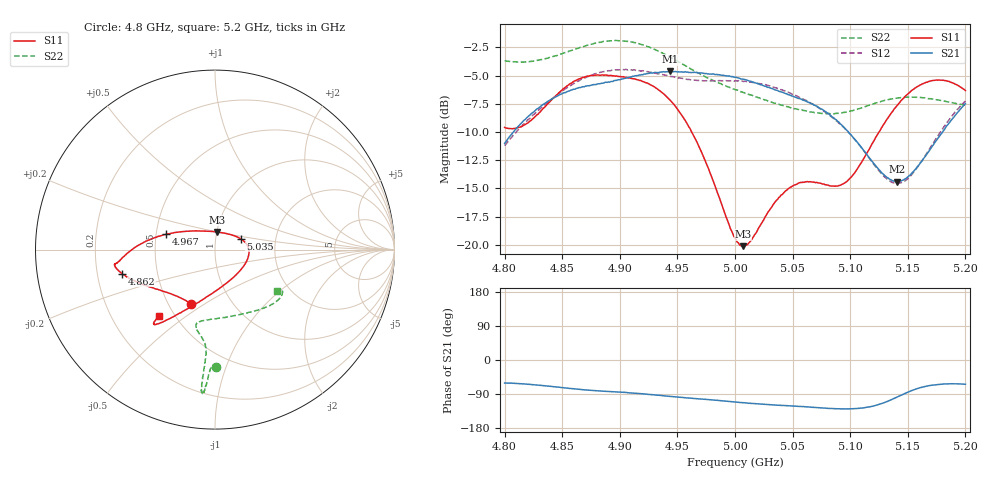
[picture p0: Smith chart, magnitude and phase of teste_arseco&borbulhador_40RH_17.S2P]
! Network Analyzer HP8722D
! Hewlett-Packard
! Data name: Linha & Wilkinson
! Saver's name: Rodrigo Anjos
! Comments: Teste da utilização de aquisição
! continua pelo VNA HP8722D
! Time and date: 15/4/2025 16:29
!  Frequency  S11  S21  S12  S22
# HZ  S  MA R 50
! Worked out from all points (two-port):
!   401 points, 4.8 GHz to 5.2 GHz, reference 50 ohm
!   highest |S21| = -4.62 dB at 4.944 GHz (marker M1); lowest = -14.4 dB at 5.141 GHz (marker M2)
!   |S21| within 3 dB of the highest: 4.832 GHz to 5.069 GHz (236.4 MHz wide, 4.78 % of centre); 5.198701 GHz to end of sweep
!   lowest |S11| = -20.1 dB at 5.007 GHz (marker M3), VSWR 1.22, Z = 50.1 + j9.92 ohm
!   |S11| at or under -10 dB: 4.962 GHz to 5.125 GHz (162.6 MHz wide, 3.22 % of centre)
!   |S22| runs from -8.4 to -1.9 dB; largest |S21 - S12| = 0.88
!   S11 on the Smith chart (normalised r, x): 4.8 GHz: 0.65, -0.44; 4.862 GHz: 0.31, -0.11; 4.967 GHz: 0.57, +0.11; 5.035 GHz: 1.32, +0.16; 5.2 GHz: 0.41, -0.40
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4.8e9  0.3314 -113.8  0.2812 -60.8  0.2752 -175.0  0.6532 -89.5
4.819e9  0.3444 -133.5  0.3647 -63.6  0.3524 -173.2  0.6487 -91.1
4.862e9  0.5356 -165.6  0.4929 -76.7  0.5268 -176.3  0.7402 -93.5
4.867e9  0.5492 -167.5  0.5006 -78.2  0.544 -177.3  0.7539 -93.6
4.898e9  0.5583 -172.0  0.5378 -84.4  0.5959 176.3  0.804 -95.0
4.934e9  0.485 -177.9  0.5804 -93.2  0.5726 172.0  0.7202 -95.6
4.944e9  0.4359 177.6  0.5872 -96.1  0.5577 171.9  0.679 -95.3
4.967e9  0.285 162.6  0.58 -102.0  0.5352 173.9  0.5809 -94.9
5e9  0.1072 107.4  0.5532 -110.8  0.5331 176.5  0.4877 -99.2
5.007e9  0.09863 83.8  0.5426 -112.6  0.5299 176.3  0.4737 -100.9
5.014e9  0.1046 61.5  0.5305 -114.6  0.5264 176.2  0.4612 -102.5
5.035e9  0.155 23.1  0.4855 -119.1  0.4968 175.0  0.4242 -103.8
5.05e9  0.1823 7.1  0.4561 -121.4  0.4638 174.4  0.4045 -100.4
5.067e9  0.1898 -11.1  0.4211 -124.7  0.4222 174.1  0.3875 -91.8
5.087e9  0.1819 -43.5  0.3602 -128.5  0.3574 173.7  0.382 -76.9
5.097e9  0.1906 -64.8  0.322 -129.1  0.3204 174.4  0.3879 -68.6
5.134e9  0.3734 -116.0  0.1956 -106.9  0.1922 -159.9  0.4415 -43.4
5.141e9  0.4162 -120.0  0.1906 -97.2  0.187 -148.8  0.4473 -40.2
5.152e9  0.4759 -124.4  0.2041 -82.3  0.201 -131.5  0.4514 -36.2
5.17e9  0.5328 -128.4  0.2676 -66.9  0.2722 -113.1  0.444 -32.0
5.184e9  0.5324 -129.8  0.3382 -63.1  0.3489 -107.1  0.431 -31.1
5.2e9  0.4832 -130.3  0.4225 -64.0  0.4336 -106.0  0.4154 -33.4
